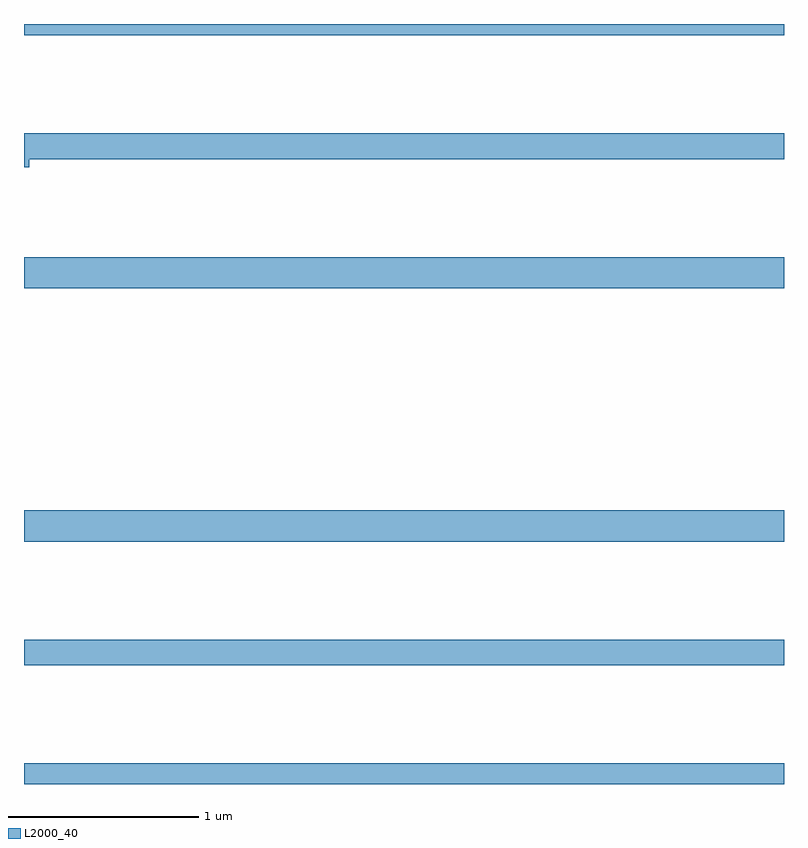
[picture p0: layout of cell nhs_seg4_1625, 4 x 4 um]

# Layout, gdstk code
import gdstk
lib = gdstk.Library(unit=1e-6, precision=1e-09)
def R(c, l, rs):  # rectangles x0, y0, x1, y1
    for r in rs: c.add(gdstk.rectangle(r[:2], r[2:], *l))
def P(c, l, *ps):  # polygons
    for p in ps: c.add(gdstk.Polygon(p, *l))
L2000_40 = (2000, 40)

nhs_seg4_1625 = lib.new_cell('nhs_seg4_1625')
R(nhs_seg4_1625, L2000_40, [(195,772.9,199,773.008), (195,773.524,199,773.66), (195,774.176,199,774.34), (195,775.508,199,775.672), (195,776.84,199,776.9)])
P(nhs_seg4_1625, L2000_40, [(195.028,776.188),(199,776.188),(199,776.324),(195,776.324),(195,776.146),(195.028,776.146)])

lib.write_gds('nhs_seg4_1625.gds')
